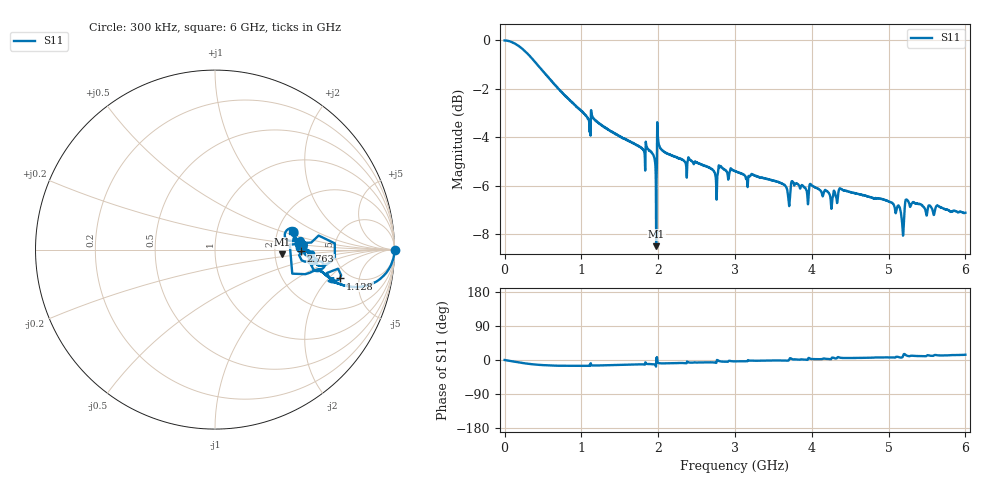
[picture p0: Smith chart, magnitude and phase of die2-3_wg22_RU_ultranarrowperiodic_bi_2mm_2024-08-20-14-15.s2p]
!Keysight Technologies,P9374A,MY57304198,A.17.20.09
!Date: Tuesday, August 20, 2024 14:15:36
!Correction: S11(C  1-Port  )
!S21(C  1-Port  )
!S12(Off)
!S22(Off)
!S2P File: Measurements: S11, S21, S12, S22:
# Hz S  dB  R 50
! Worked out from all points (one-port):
!   6000 points, 300 kHz to 6 GHz, reference 50 ohm
!   lowest |S11| = -8.5 dB at 1.974 GHz (marker M1), VSWR 2.21, Z = 110 - j6.8 ohm
!   |S11| at or under -10 dB: nowhere
!   S11 on the Smith chart (normalised r, x): 300 kHz: open; 1.128 GHz: 4.15, -2.72; 2.763 GHz: 2.84, -0.06; 6 GHz: 2.38, +0.63
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300000  0.00 -0.0  -200.00 45.0  -200.00 45.0  -200.00 45.0
2.343273e8  -0.35 -7.9  -200.00 45.0  -200.00 45.0  -200.00 45.0
4.123481e8  -0.94 -12.1  -200.00 45.0  -200.00 45.0  -200.00 45.0
1.000417e9  -2.91 -15.4  -200.00 45.0  -200.00 45.0  -200.00 45.0
1.128432e9  -2.92 -13.0  -200.00 45.0  -200.00 45.0  -200.00 45.0
1.866518e9  -4.47 -10.7  -200.00 45.0  -200.00 45.0  -200.00 45.0
1.941526e9  -4.77 -11.1  -200.00 45.0  -200.00 45.0  -200.00 45.0
1.97353e9  -8.48 -4.0  -200.00 45.0  -200.00 45.0  -200.00 45.0
2.000533e9  -4.12 -7.8  -200.00 45.0  -200.00 45.0  -200.00 45.0
2.014535e9  -4.33 -8.5  -200.00 45.0  -200.00 45.0  -200.00 45.0
2.065541e9  -4.57 -8.9  -200.00 45.0  -200.00 45.0  -200.00 45.0
2.728618e9  -5.42 -6.4  -200.00 45.0  -200.00 45.0  -200.00 45.0
2.762622e9  -6.39 -1.0  -200.00 45.0  -200.00 45.0  -200.00 45.0
2.812628e9  -5.18 -3.7  -200.00 45.0  -200.00 45.0  -200.00 45.0
3.00065e9  -5.40 -3.5  -200.00 45.0  -200.00 45.0  -200.00 45.0
3.695731e9  -6.55 -1.5  -200.00 45.0  -200.00 45.0  -200.00 45.0
3.759739e9  -5.85 1.4  -200.00 45.0  -200.00 45.0  -200.00 45.0
4.000767e9  -5.98 2.6  -200.00 45.0  -200.00 45.0  -200.00 45.0
5.000883e9  -6.63 6.8  -200.00 45.0  -200.00 45.0  -200.00 45.0
5.182905e9  -7.88 7.8  -200.00 45.0  -200.00 45.0  -200.00 45.0
5.242912e9  -6.59 11.1  -200.00 45.0  -200.00 45.0  -200.00 45.0
6e9  -7.10 13.9  -200.00 45.0  -200.00 45.0  -200.00 45.0
